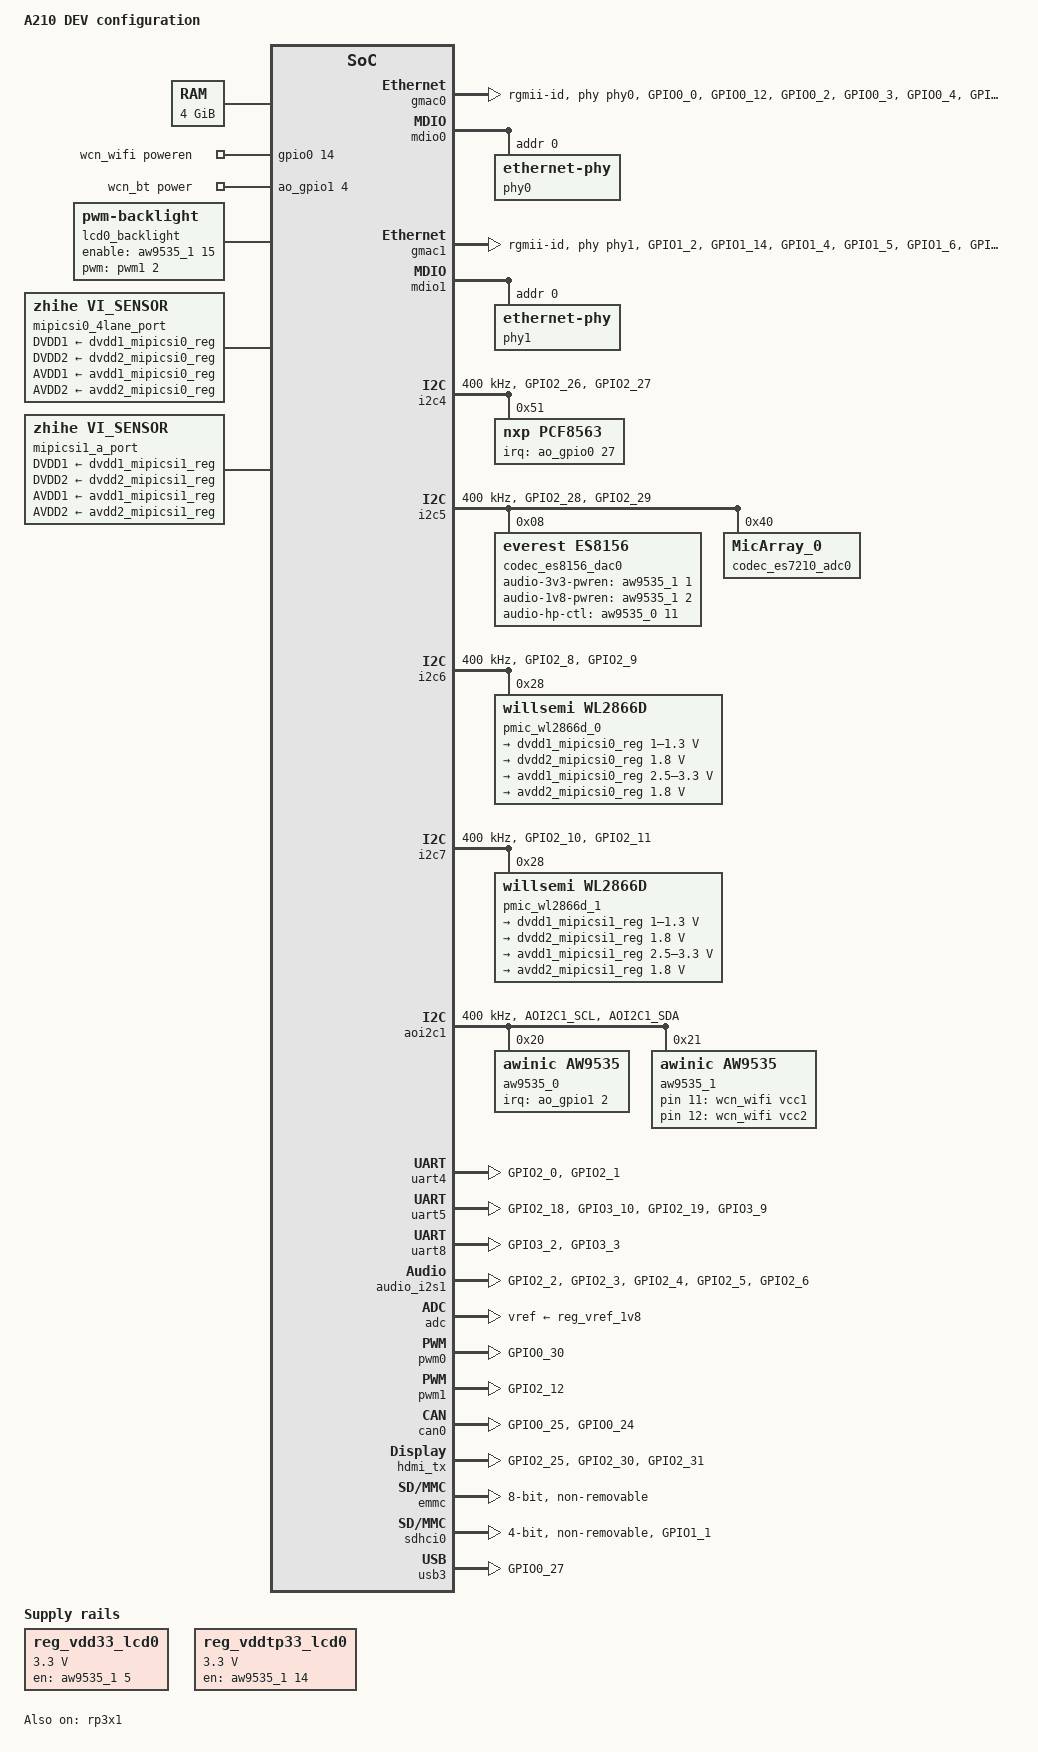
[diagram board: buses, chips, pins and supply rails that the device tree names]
/dts-v1/;

#include <dt-bindings/gpio/gpio.h>
#include "a210-soc-core.dtsi"
#include "a210-soc-peri.dtsi"
#include "a210-platform-dev.dtsi"

#define SOUND_CARD_LINK(REG, FMT, CPU, M, CODEC, N) \
	simple-audio-card,dai-link@##REG { \
		reg = <REG>; \
		format = #FMT; \
		cpu { \
			sound-dai = <&audio_##CPU M>; \
		}; \
		codec { \
			sound-dai = <&codec_##CODEC N>; \
		}; \
	}

/ {
	model = "A210 DEV configuration";

	aliases {
		ethernet0 = &gmac0;
		ethernet1 = &gmac1;

		gpio0 = &ao_gpio0;
		gpio1 = &ao_gpio1;
		gpio2 = &gpio0;
		gpio3 = &gpio1;
		gpio4 = &gpio2;
		gpio5 = &gpio3;
		gpio6 = &gpio4;
		gpio7 = &aw9535_0;
		gpio8 = &aw9535_1;

		i2c0 = &i2c0;
		i2c1 = &i2c1;
		i2c2 = &i2c2;
		i2c3 = &i2c3;
		i2c4 = &i2c4;
		i2c5 = &i2c5;
		i2c6 = &i2c6;
		i2c7 = &i2c7;
		i2c8 = &aoi2c1;

		can0 = &can0;
		can1 = &can1;
		can2 = &can2;

		mmc0 = &emmc;
		mmc1 = &sdhci0;
		serial0 = &uart0;
		serial1 = &uart1;
		serial2 = &uart2;
		serial3 = &uart3;
		serial4 = &uart4;
		serial5 = &uart5;
		serial6 = &uart6;
		serial7 = &uart7;
		serial8 = &uart8;
		serial9 = &uart9;
		spi0 = &qspi0;
		spi1 = &qspi1;
		spi2 = &spi0;
		spi3 = &spi1;
		pcie3x4 = &dm3x4;
		pcie3x1 = &rp3x1;
		vi_sensor0 = &mipicsi0_4lane_port;
		vi_sensor1 = &mipicsi1_a_port;
	};

	/* The actual capacity will be adjusted through SPL */
	memory@0 {
		device_type = "memory";
		reg = <0x00 0x80000000  0x01 0x00000000>; /* 4G */
		numa-node-id = <0>;
	};

	reserved-memory {
		#address-cells = <2>;
		#size-cells = <2>;
		ranges;

		linux,cma {
			compatible = "shared-dma-pool";
			reusable;
			size = <0x00 0x40000000>;
			alloc-ranges = <0x00 0x90000000 0x00 0x40000000>;
			linux,cma-default;
		};

		memory@1c000000 {
			reg = <0x00 0x1c000000 0x00 0x2000000>;
			no-map;
		};

		framebuffer: framebuffer@10000000 {
			reg = <0x01 0x00 0x00 0x5000000>;
			no-map;
		};

		npu_mmu_memory@130000000 {
			reg = <0x01 0x30000000 0x00 0x04000000>;
			no-map;
		};

		memblock-memory@17b800000 {
			reg = <0x01 0x7b800000 0x00 0x04000000>;
			no-map;
		};
	};

	Sound_Card@0 {
		compatible = "simple-audio-card";
		simple-audio-card,name = "Sound-Card-I2S0";
		#address-cells = <1>;
		#size-cells = <0>;
		status = "okay";

		SOUND_CARD_LINK(0, i2s, i2s1, 0, es8156_dac0, 0);  /* I2S1 <-> es8156_dac0 */
		SOUND_CARD_LINK(1, i2s, i2s1, 0, es7210_adc0, 0);  /* I2S1 <-> es7210_adc0 */
	};

	Sound_Card@1 {
		compatible = "simple-audio-card";
		simple-audio-card,name = "Sound-Card-I2S1";
		#address-cells = <1>;
		#size-cells = <0>;
		status = "disabled";

		simple-audio-card,widgets = "Speaker", "Speaker";
		simple-audio-card,routing =
			"Speaker", "AW87565_PA2 VO",
			"AW87565_PA2 IN", "ES8156_DAC1 LOUT";
		simple-audio-card,aux-devs = <&audio_aw87565_pa2>;
		SOUND_CARD_LINK(0, i2s, i2s1, 0, es8156_dac1, 0);
		SOUND_CARD_LINK(1, i2s, i2s1, 0, es7210_adc1, 0);
	};

 	wcn_wifi: wireless-wlan {
 		compatible = "wlan-platdata";
		WIFI,vcc1-gpios = <&aw9535_1 11 GPIO_ACTIVE_HIGH>;
		WIFI,vcc2-gpios = <&aw9535_1 12 GPIO_ACTIVE_HIGH>;
		WIFI,poweren-gpios = <&gpio0 14 GPIO_ACTIVE_HIGH>;
		power_on_after_init;
		power_on_when_resume;
 		status = "okay";
 	};

 	wcn_bt: wireless-bluetooth {
 		compatible = "bluetooth-platdata";
		BT,power-gpios = <&ao_gpio1 4 GPIO_ACTIVE_HIGH>;
 		status = "okay";
 	};

	/* The bootargs in U-Boot will override the configuration set here. */
	chosen {
		stdout-path = "serial4";
	};

	lcd0_backlight: pwm-backlight@0 {
		compatible = "pwm-backlight";
		status = "okay";
		pwms = <&pwm1 2 100000 0>;
		brightness-levels = <0 4 8 16 32 64 128 255>;
		default-brightness-level = <7>;
		enable-gpios = <&aw9535_1 15 GPIO_ACTIVE_HIGH>;
	};

	reg_vdd33_lcd0: regulator-vdd33-lcd0 {
		compatible = "regulator-fixed";
		regulator-name = "lcd0_vdd33";
		regulator-min-microvolt = <3300000>;
		regulator-max-microvolt = <3300000>;
		gpio = <&aw9535_1 5 GPIO_ACTIVE_HIGH>;
		enable-active-high;
	};

	reg_vddtp33_lcd0: regulator-vddtp33-lcd0 {
		compatible = "regulator-fixed";
		regulator-name = "lcd0_vddtp33";
		regulator-min-microvolt = <3300000>;
		regulator-max-microvolt = <3300000>;
		gpio = <&aw9535_1 14 GPIO_ACTIVE_HIGH>;
		enable-active-high;
	};

	mipicsi0_4lane_port: mipicsi0_4lane_port@0 {
		compatible = "zhihe,vi_sensor";
		clocks = <&clk SW_TOP_PAD_SENSOR_VCLK0_EN>;
		clock-names = "core_clk";
		clock-frequency = <24000000>;
		pinctrl-names = "default";
		pinctrl-0 = <&sen_vclk_pin0>;
		sensor_pdn = <&aw9535_0 3 GPIO_ACTIVE_HIGH>;
		sensor_rst = <&aw9535_0 4 GPIO_ACTIVE_HIGH>;
		sensor_regulators = "DVDD1", "DVDD2", "AVDD1", "AVDD2";
		DVDD1-supply = <&dvdd1_mipicsi0_reg>;
		DVDD2-supply = <&dvdd2_mipicsi0_reg>;
		AVDD1-supply = <&avdd1_mipicsi0_reg>;
		AVDD2-supply = <&avdd2_mipicsi0_reg>;
		status = "okay";
	};

	mipicsi1_a_port: mipicsi1_a_port@0 {
		compatible = "zhihe,vi_sensor";
		clocks = <&clk SW_TOP_PAD_SENSOR_VCLK1_EN>;
		clock-names = "core_clk";
		clock-frequency = <24000000>;
		pinctrl-names = "default";
		pinctrl-0 = <&sen_vclk_pin1>;
		sensor_pdn = <&aw9535_0 0 GPIO_ACTIVE_HIGH>;
		sensor_rst = <&aw9535_0 1 GPIO_ACTIVE_HIGH>;
		sensor_regulators = "DVDD1", "DVDD2", "AVDD1", "AVDD2";
		DVDD1-supply = <&dvdd1_mipicsi1_reg>;
		DVDD2-supply = <&dvdd2_mipicsi1_reg>;
		AVDD1-supply = <&avdd1_mipicsi1_reg>;
		AVDD2-supply = <&avdd2_mipicsi1_reg>;
		status = "okay";
	};
};

&aon {
	regulators {
		compatible = "zhihe,a210-aon-regulator";

		avdd33_emmc_reg: avdd33_emmc {
			regulator-name = "avdd33_emmc";
			regulator-type = "voltage";
			regulator-always-on;
		};

		avdd33_usb2_reg: avdd33_usb2 {
			regulator-name = "avdd33_usb2";
			regulator-type = "voltage";
			regulator-always-on;
		};

		dvdd08_aon_reg: dvdd08_aon {
			regulator-name = "dvdd08_aon";
			regulator-type = "voltage";
			regulator-always-on;
		};

		avdd18_aon_reg: avdd18_aon {
			regulator-name = "avdd18_aon";
			regulator-type = "voltage";
			regulator-always-on;
		};

		avdd18_emmc_usb2_reg: avdd18_emmc_usb2 {
			regulator-name = "avdd18_emmc_usb2";
			regulator-type = "voltage";
			regulator-always-on;
		};

		avdd18_emmc_peri_reg: avdd18_emmc_peri {
			regulator-name = "avdd18_emmc_peri";
			regulator-type = "voltage";
			regulator-always-on;
		};

		avdd18_top_reg: avdd18_top {
			regulator-name = "avdd18_top";
			regulator-type = "voltage";
			regulator-always-on;
		};

		avdd18_pll_reg: avdd18_pll {
			regulator-name = "avdd18_pll";
			regulator-type = "voltage";
			regulator-always-on;
		};

		avdd18_reg: avdd18 {
			regulator-name = "avdd18";
			regulator-type = "voltage";
			regulator-always-on;
		};

		dvdd18_ddr_vaa_reg: dvdd18_ddr_vaa {
			regulator-name = "dvdd18_ddr_vaa";
			regulator-type = "voltage";
			regulator-always-on;
		};

		p3v3_reg: p3v3 {
			regulator-name = "p3v3";
			regulator-type = "voltage";
			regulator-always-on;
		};

		dvdd08_top_reg: dvdd08_top {
			regulator-name = "dvdd08_top";
			regulator-type = "voltage";
			regulator-always-on;
		};

		dvdd06_ddr_vddqlp_reg: dvdd06_ddr_vddqlp {
			regulator-name = "dvdd06_ddr_vddqlp";
			regulator-type = "voltage";
			regulator-always-on;
		};

		dvdd08_ddr_reg: dvdd08_ddr {
			regulator-name = "dvdd08_ddr";
			regulator-type = "voltage";
			regulator-ramp-delay = <100>;
			regulator-min-microvolt = <750000>;
			regulator-max-microvolt = <800000>;
			regulator-always-on;
		};

		dvdd_cpu_reg: dvdd_cpu {
			regulator-name = "dvdd_cpu";
			regulator-type = "voltage";
			regulator-ramp-delay = <100>;
			regulator-min-microvolt = <600000>;
			regulator-max-microvolt = <1000000>;
			regulator-always-on;
		};

		dvddm_cpu_reg: dvddm_cpu {
			regulator-name = "dvddm_cpu";
			regulator-type = "voltage";
			regulator-ramp-delay = <100>;
			regulator-min-microvolt = <800000>;
			regulator-max-microvolt = <1000000>;
			regulator-always-on;
		};

		dvdd_vp_reg: dvdd_vp {
			regulator-name = "dvdd_vp";
			regulator-type = "voltage";
			regulator-ramp-delay = <100>;
			regulator-min-microvolt = <750000>;
			regulator-max-microvolt = <800000>;
			regulator-always-on;
		};

		dvdd_npu_vip_reg: dvdd_npu_vip {
			regulator-name = "dvdd_npu_vip";
			regulator-type = "voltage";
			regulator-ramp-delay = <100>;
			regulator-min-microvolt = <750000>;
			regulator-max-microvolt = <1000000>;
			regulator-always-on;
		};

		dvdd_cpu_p_reg: dvdd_cpu_p {
			regulator-name = "dvdd_cpu_p";
			regulator-type = "voltage";
			regulator-ramp-delay = <100>;
			regulator-min-microvolt = <800000>;
			regulator-max-microvolt = <1000000>;
			regulator-always-on;
		};

		dvdd_gpu_reg: dvdd_gpu {
			regulator-name = "dvdd_gpu";
			regulator-type = "voltage";
			regulator-ramp-delay = <100>;
			regulator-min-microvolt = <750000>;
			regulator-max-microvolt = <800000>;
			regulator-always-on;
		};

	};

	cpufreq: a210_cpufreq {
		compatible = "zhihe,a210-cpufreq";
		clocks = <&clk TOP_CPUSYS_BUS_CLK_DIV>,
			 <&clk TOP_CPUSYS_PIC_CLK_DIV>,
			 <&clk TOP_CPUSYS_CFG_ACLK_DIV>,
			 <&clk TOP_CPUSYS_COM_APB_CLK_DIV>,
			 <&clk TOP_CPUSYS_APB_CLK_DIV>;
		clock-names = "bus_clk", "pic_clk", "cfg_clk", "com_clk", "apb_clk";
		status = "okay";
	};
};

&aon_padctrl {
	rtc_pins: rtc {
		rtc-pins {
			pins = "AOGPIO0_27";
			function = "aogpio0";
			bias-disable;
			drive-strength = <13>;
			input-enable;
			input-schmitt-disable;
			slew-rate = <0>;
		};
	};
    aoi2c1_pins: aoi2c1-0 {
		i2c-pins {
			pins = "AOI2C1_SCL", "AOI2C1_SDA";
			function = "aoi2c1";
			bias-disable;
			drive-strength = <7>;
			input-enable;
			input-schmitt-enable;
			slew-rate = <0>;
		};
	};
};

&peri1_padctrl {
	gmac0_pins: gmac0-0 {
		txclk-pins {
			pins = "GPIO0_0", /* GMAC0_TX_CLK */
					"GPIO0_12"; /* GMAC0_MDC */
			function = "gmac0";
			bias-disable;
			drive-strength = <13>;
			input-disable;
			input-schmitt-disable;
			slew-rate = <0>;
		};

		tx-pins {
			pins = "GPIO0_2", /* GMAC0_TXEN */
					"GPIO0_3", /* GMAC0_TXD0 */
					"GPIO0_4", /* GMAC0_TXD1 */
					"GPIO0_5", /* GMAC0_TXD2 */
					"GPIO0_6"; /* GMAC0_TXD3 */
			function = "gmac0";
			bias-disable;
			drive-strength = <20>;
			input-disable;
			input-schmitt-disable;
			slew-rate = <0>;
		};

		rx-pins {
			pins = "GPIO0_1",  /* GMAC0_RX_CLK */
					"GPIO0_7",  /* GMAC0_RXDV */
					"GPIO0_8",  /* GMAC0_RXD0 */
					"GPIO0_9",  /* GMAC0_RXD1 */
					"GPIO0_10", /* GMAC0_RXD2 */
					"GPIO0_11", /* GMAC0_RXD3 */
					"GPIO0_13"; /* GMAC0_MDIO */
			function = "gmac0";
			bias-disable;
			drive-strength = <13>;
			input-enable;
			input-schmitt-disable;
			slew-rate = <0>;
		};
	};
	qspi0_pins: qspi0-0 {
		qspi-pins {
			pins = "GPIO0_18", "GPIO0_20", "GPIO0_21", "GPIO0_22", "GPIO0_23";
			function = "qspi0";
			bias-disable;
			drive-strength = <13>;
			input-enable;
			input-schmitt-enable;
			slew-rate = <0>;
		};
	};
	can0_pins: can0-0 {
		tx-pins {
			pins = "GPIO0_25";
			function = "can0";
			bias-disable;
			drive-strength = <5>;
			input-disable;
			input-schmitt-disable;
			slew-rate = <1>;
		};

		rx-pins {
			pins = "GPIO0_24";
			function = "can0";
			bias-disable;
			drive-strength = <1>;
			input-enable;
			input-schmitt-enable;
			slew-rate = <0>;
		};
	};
	pcie_x1_pins: pcie_x1-1 {
		pcie_x1-pins {
			pins = "GPIO0_18", "GPIO0_19", "GPIO0_20", "GPIO0_21";
			function = "pcie_x1";
			bias-disable;
			drive-strength = <7>;
			input-enable;
			input-schmitt-enable;
			slew-rate = <0>;
		};
	};
	pcie_x4_pins: pcie_x4-1 {
		pcie_x4-pins {
			pins = "GPIO0_28", "GPIO0_29", "GPIO0_31";
			function = "pcie_x4";
			bias-disable;
			drive-strength = <7>;
			input-enable;
			input-schmitt-enable;
			slew-rate = <0>;
		};
	};
	pwm0_pins: pwm0-1 {
		pwm0-pins {
			pins = "GPIO0_30"; // PWM0_CH2
			function = "pwm0";
			bias-disable;
			drive-strength = <13>;
			input-disable;
			input-schmitt-disable;
			slew-rate = <0>;
		};
	};
	gmac1_pins: gmac1-0 {
		txclk-pins {
			pins = "GPIO1_2", /* GMAC1_TX_CLK */
					"GPIO1_14"; /* GMAC1_MDC */
			function = "gmac1";
			bias-disable;
			drive-strength = <13>;
			input-disable;
			input-schmitt-disable;
			slew-rate = <0>;
		};
		tx-pins {
			pins = "GPIO1_4", /* GMAC1_TXEN */
					"GPIO1_5", /* GMAC1_TXD0 */
					"GPIO1_6", /* GMAC1_TXD1 */
					"GPIO1_7", /* GMAC1_TXD2 */
					"GPIO1_8"; /* GMAC1_TXD3 */
			function = "gmac1";
			bias-disable;
			drive-strength = <20>;
			input-disable;
			input-schmitt-disable;
			slew-rate = <0>;
		};
		rx-pins {
			pins = "GPIO1_3",  /* GMAC1_RX_CLK */
					"GPIO1_9",  /* GMAC1_RXDV */
					"GPIO1_10", /* GMAC1_RXD0 */
					"GPIO1_11", /* GMAC1_RXD1 */
					"GPIO1_12", /* GMAC1_RXD2 */
					"GPIO1_13", /* GMAC1_RXD3 */
					"GPIO1_15"; /* GMAC1_MDIO */
			function = "gmac1";
			bias-disable;
			drive-strength = <13>;
			input-enable;
			input-schmitt-disable;
			slew-rate = <0>;
		};
	};
	sdhci_pins: sdhci0-1 {
		sd-pins {
			pins = "GPIO1_1";
			function = "sdio";
			bias-disable;
			drive-strength = <13>;
			input-enable;
			input-schmitt-enable;
			slew-rate = <0>;
		};
	};
	usb3_pins: usb3-1 {
		usb3-pins {
			pins = "GPIO0_27";
			function = "gpio0";
			bias-disable;
			drive-strength = <13>;
			input-disable;
			input-schmitt-disable;
			slew-rate = <0>;
		};
	};
};

&peri2_padctrl {
	uart4_pins: uart4-0 {
		tx-pins {
			pins = "GPIO2_0";
			function = "uart4";
			bias-disable;
			drive-strength = <3>;
			input-disable;
			input-schmitt-disable;
			slew-rate = <0>;
		};

		rx-pins {
			pins = "GPIO2_1";
			function = "uart4";
			bias-disable;
			drive-strength = <1>;
			input-enable;
			input-schmitt-enable;
			slew-rate = <0>;
		};
	};
	i2c5_pins: i2c5-1 {
		i2c-pins {
			pins = "GPIO2_28", "GPIO2_29";
			function = "i2c5";
			bias-disable;
			drive-strength = <7>;
			input-enable;
			input-schmitt-enable;
			slew-rate = <0>;
		};
	};
	uart5_pins: uart5-1 {
		tx-pins {
			pins = "GPIO2_18", "GPIO3_10";	// TXD, RTSN
			function = "uart5";
			bias-disable;
			drive-strength = <3>;
			input-disable;
			input-schmitt-disable;
			slew-rate = <0>;
		};

		rx-pins {
			pins = "GPIO2_19", "GPIO3_9";	// RXD, CTSN
			function = "uart5";
			bias-disable;
			drive-strength = <1>;
			input-enable;
			input-schmitt-enable;
			slew-rate = <0>;
		};
	};
	i2c6_pins: i2c6-1 {
		i2c-pins {
			pins = "GPIO2_8", "GPIO2_9";
			function = "i2c6";
			bias-disable;
			drive-strength = <7>;
			input-enable;
			input-schmitt-enable;
			slew-rate = <0>;
		};
	};
	i2s1_pins: i2s1-0 {
		i2s-pins {
			pins = "GPIO2_2", "GPIO2_3", "GPIO2_4", "GPIO2_5", "GPIO2_6";
			function = "i2s1";
			bias-disable;
			drive-strength = <13>;
			input-schmitt-disable;
			slew-rate = <0>;
		};
	};
	i2c7_pins: i2c7-0 {
		i2c-pins {
			pins = "GPIO2_10", "GPIO2_11";
			function = "i2c7";
			bias-disable;
			drive-strength = <7>;
			input-enable;
			input-schmitt-enable;
			slew-rate = <0>;
		};
	};
	i2c4_pins: i2c4-2 {
		i2c-pins {
			pins = "GPIO2_26", "GPIO2_27";
			function = "i2c4";
			bias-disable;
			drive-strength = <7>;
			input-enable;
			input-schmitt-enable;
			slew-rate = <0>;
		};
	};
	pwm1_pins: pwm1-1 {
		pwm1-pins {
			pins = "GPIO2_12"; // PWM1_CH2
			function = "pwm1";
			bias-disable;
			drive-strength = <13>;
			input-disable;
			input-schmitt-disable;
			slew-rate = <0>;
		};
	};
	hdmi_pins: hdmi-0 {
		hdmi-pins {
			pins = "GPIO2_25", "GPIO2_30", "GPIO2_31";
			function = "hdmi";
			bias-disable;
			drive-strength = <3>;
			input-enable;
			input-schmitt-disable;
			slew-rate = <0>;
		};
	};
	sen_vclk_pin0: sen_vclk0 {
		sen_vclk0-pins {
			pins = "GPIO3_0";
			function = "sen_vclk";
			bias-disable;
			drive-strength = <7>;
			input-enable;
			input-schmitt-enable;
			slew-rate = <0>;
		};
	};
	sen_vclk_pin1: sen_vclk1 {
		sen_vclk1-pins {
			pins = "GPIO3_1";
			function = "sen_vclk";
			bias-disable;
			drive-strength = <7>;
			input-enable;
			input-schmitt-enable;
			slew-rate = <0>;
		};
	};
	uart8_pins: uart8-1 {
		tx-pins {
			pins = "GPIO3_2";	// TXD
			function = "uart8";
			bias-disable;
			drive-strength = <3>;
			input-disable;
			input-schmitt-disable;
			slew-rate = <0>;
		};

		rx-pins {
			pins = "GPIO3_3";	// RXD
			function = "uart8";
			bias-disable;
			drive-strength = <1>;
			input-enable;
			input-schmitt-enable;
			slew-rate = <0>;
		};
	};
};

&gmac0 {
	phy-mode = "rgmii-id";
	pinctrl-names = "default";
	pinctrl-0 = <&gmac0_pins>;
	rx-clk-delay = <0x00>; /* for RGMII */
	tx-clk-delay = <0x00>; /* for RGMII */
	phy-handle = <&phy0>;
};

&mdio0 {
	phy0: ethernet-phy@0 {
		reg = <0x0>;
	};
};

&gmac1 {
	phy-mode = "rgmii-id";
	pinctrl-names = "default";
	pinctrl-0 = <&gmac1_pins>;
	phy-handle = <&phy1>;
};

&mdio1 {
	phy1: ethernet-phy@1 {
		reg = <0x0>;
	};
};

&qspi0 {
	cs-gpios = <&gpio0 19 0>;
	rx-sample-dly = <2>;
	spi-swap-data = <1>;
	spi-max-frequency = <55000000>;
	pinctrl-names = "default";
	pinctrl-0 = <&qspi0_pins>;
	status = "disabled";

	spi_norflash@0 {
		compatible = "jedec,spi-nor";
		spi-max-frequency = <55000000>;
		#address-cells = <1>;
		#size-cells = <1>;
		spi-tx-bus-width = <4>;
		spi-rx-bus-width = <4>;
		reg = <0>;
		status = "okay";
	};
};

&i2c4 {
	pinctrl-names = "default";
	pinctrl-0 = <&i2c4_pins>;
	clock-frequency = <400000>;

	pcf8563: rtc@51 {
		pinctrl-names = "default";
		pinctrl-0 = <&rtc_pins>;
		compatible = "nxp,pcf8563";
		reg = <0x51>;
		interrupt-parent = <&ao_gpio0>;
		interrupts = <27 IRQ_TYPE_LEVEL_LOW>;
		wakeup-source;
	};
};

&i2c5 {
	pinctrl-names = "default";
	pinctrl-0 = <&i2c5_pins>;
	clock-frequency = <400000>;

	codec_es8156_dac0: es8156@8 {
		compatible = "everest,es8156";
		reg = <0x8>;
		#sound-dai-cells = <1>;
		sound-name-prefix = "ES8156_DAC0";
		mclk-sclk-ratio = <4>;
		audio-3v3-pwren-gpios	= <&aw9535_1 1 GPIO_ACTIVE_HIGH>;
		audio-1v8-pwren-gpios	= <&aw9535_1 2 GPIO_ACTIVE_HIGH>;
		audio-hp-ctl-gpios	= <&aw9535_0 11 GPIO_ACTIVE_HIGH>;
		status = "okay";
	};

	codec_es7210_adc0: es7210@40 {
		compatible = "MicArray_0";
		reg = <0x40>;
		#sound-dai-cells = <1>;
		work-mode = "ES7210_NORMAL_I2S";
		channels-max = <2>;
		mclk-sclk-ratio = <4>;
		sound-name-prefix = "ES7210_ADC0";
		status = "okay";
	};

	codec_es8156_dac1: es8156@9 {
		compatible = "everest,es8156";
		reg = <0x9>;
		#sound-dai-cells = <1>;
		sound-name-prefix = "ES8156_DAC1";
		mclk-sclk-ratio = <4>;
		status = "disabled";
	};

	codec_es7210_adc1: es7210@41 {
		compatible = "MicArray_0";
		reg = <0x41>;
		#sound-dai-cells = <1>;
		work-mode = "ES7210_NORMAL_I2S";
		channels-max = <2>;
		mclk-sclk-ratio = <4>;
		sound-name-prefix = "ES7210_ADC1";
		status = "disabled";
	};

	audio_aw87565_pa2: audio_pa2@5b {
		compatible = "awinic,aw87565_pa";
		reg = <0x5b>;
		sound-name-prefix = "AW87565_PA2";
		reset-gpios = <&aw9535_0 8 GPIO_ACTIVE_LOW>;
		status = "disabled";
	};
};

&i2c6 {
	pinctrl-names = "default";
	pinctrl-0 = <&i2c6_pins>;
	clock-frequency = <400000>;

	pmic_wl2866d_0:wl2866d_0@28 {
		compatible = "willsemi,wl2866d";
		reg = <0x28>;
		status = "okay";

		regulators {
			dvdd1_mipicsi0_reg: dvdd1_mipicsi0 {
				regulator-name = "dvdd1_mipicsi0";
				regulator-min-microvolt = <1000000>;
				regulator-max-microvolt = <1300000>;
			};

			dvdd2_mipicsi0_reg: dvdd2_mipicsi0 {
				regulator-name = "dvdd2_mipicsi0";
				regulator-min-microvolt = <1800000>;
				regulator-max-microvolt = <1800000>;
			};

			avdd1_mipicsi0_reg: avdd1_mipicsi0 {
				regulator-name = "avdd1_mipicsi0";
				regulator-min-microvolt = <2500000>;
				regulator-max-microvolt = <3300000>;
			};

			avdd2_mipicsi0_reg: avdd2_mipicsi0 {
				regulator-name = "avdd2_mipicsi0";
				regulator-min-microvolt = <1800000>;
				regulator-max-microvolt = <1800000>;
			};
		};
	};
};

&i2c7 {
	pinctrl-names = "default";
	pinctrl-0 = <&i2c7_pins>;
	clock-frequency = <400000>;

	pmic_wl2866d_1:wl2866d_1@28 {
		compatible = "willsemi,wl2866d";
		reg = <0x28>;
		status = "okay";

		regulators {
			dvdd1_mipicsi1_reg: dvdd1_mipicsi1 {
				regulator-name = "dvdd1_mipicsi1";
				regulator-min-microvolt = <1000000>;
				regulator-max-microvolt = <1300000>;
			};

			dvdd2_mipicsi1_reg: dvdd2_mipicsi1 {
				regulator-name = "dvdd2_mipicsi1";
				regulator-min-microvolt = <1800000>;
				regulator-max-microvolt = <1800000>;
			};

			avdd1_mipicsi1_reg: avdd1_mipicsi1 {
				regulator-name = "avdd1_mipicsi1";
				regulator-min-microvolt = <2500000>;
				regulator-max-microvolt = <3300000>;
			};

			avdd2_mipicsi1_reg: avdd2_mipicsi1 {
				regulator-name = "avdd2_mipicsi1";
				regulator-min-microvolt = <1800000>;
				regulator-max-microvolt = <1800000>;
			};
		};
	};
};

&aoi2c1 {
	pinctrl-names = "default";
	pinctrl-0 = <&aoi2c1_pins>;
	clock-frequency = <400000>;
	status = "okay";

    aw9535_0: gpio@20 {
        compatible = "awinic,aw9535";
        reg = <0x20>;
        gpio-controller;
        #gpio-cells = <2>;
        ngpios = <16>;
        interrupt-parent = <&ao_gpio1>;
        interrupts = <2 IRQ_TYPE_LEVEL_LOW>;
        gpio-line-names =
		    "CSI1_PWDN_IO0", "CSI1_RST_IO1", "CSI1_FSIN_IO2", "CSI0_PWDN_IO3",                  // index 0..3
		    "CSI0_RST_IO4", "CSI0_FSIN_IO5", "MINPCIE_1V5POWER_EN_I06", "MINPCIE_3V3_PWREN_I07",// index 4..7
		    "NULL_I08", "M2_SATA_EN_IO9", "AUDIO_ADC0_INT_IO10", "HP_CTL_H_IO11",               // index 8..11
		    "PI6C557_EN_IO12","DISP_RST_IO13","M2_SATA_3V3_PWREN_IO14","MINPCIE_PERST_IO15";    // index 12..15
    };

    aw9535_1: gpio@21 {
        compatible = "awinic,aw9535";
        reg = <0x21>;
        gpio-controller;
        #gpio-cells = <2>;
        ngpios = <16>;
        gpio-line-names =
		    "PCIE_ETH_PERSTB_IO0", "AUDIO_3V3_PWREN_IO1", "AUDIO_1V8_PWREN_IO2", "MIPI_CSI0_PWREN_IO3", // index 0..3
		    "MIPI_CSI1_PWREN_IO4", "MIPI_TP_PWREN_IO5", "PCIE_ETH_3V3_PWREN_IO6", "NULL_IO7",           // index 4..7
		    "USBCON_PWREN_IO8", "USBCON1_PWREN_IO9", "NULL_IO10", "SDIO_3V3_PWREN_IO11",                // index 8..11
		    "SDIO_1V8_PWREN_IO12","PI6C557_PWREN_IO13","MIPI_DSI_PWREN_IO14","BL_EN_IO15";              // index 12..15
    };
};

&uart4 {
	pinctrl-names = "default";
	pinctrl-0 = <&uart4_pins>;
};

&uart5 {
	pinctrl-names = "default";
	pinctrl-0 = <&uart5_pins>;
};

&uart8 {
	pinctrl-names = "default";
	pinctrl-0 = <&uart8_pins>;
};

&rp3x1 {
	pinctrl-names = "default";
	pinctrl-0 = <&pcie_x1_pins>;
	minipcie-1v5-pwren-gpios = 	<&aw9535_0  6 GPIO_ACTIVE_HIGH>;
	minipcie-3v3-pwren-gpios = 	<&aw9535_0  7 GPIO_ACTIVE_HIGH>;
	minipcie-perst-gpios = 	        <&aw9535_0 15 GPIO_ACTIVE_HIGH>;
	pcie-clk-en-gpios = 		<&aw9535_0 12 GPIO_ACTIVE_HIGH>;
	pcie-clk-pwren-gpios = 		<&aw9535_1 13 GPIO_ACTIVE_HIGH>;
	status = "okay";
};

&dm3x4 {
	pinctrl-names = "default";
	pinctrl-0 = <&pcie_x4_pins>;
};

&audio_i2s1 {
	pinctrl-names = "default";
	pinctrl-0 = <&i2s1_pins>;
};

&adc {
	vref-supply = <&reg_vref_1v8>;
	#io-channel-cells = <1>;
	sampling-frequency = <1000000>;
	resolution = <12>;
};

&pwm0 {
	pinctrl-names = "default";
	pinctrl-0 = <&pwm0_pins>;
};

&pwm1 {
	pinctrl-names = "default";
	pinctrl-0 = <&pwm1_pins>;
};

&can0 {
	pinctrl-names = "default";
	pinctrl-0 = <&can0_pins>;
};

&hdmi_tx {
	pinctrl-names = "default";
	pinctrl-0 = <&hdmi_pins>;
};

&vidmem {
  memory-region = <&framebuffer>;
};

&emmc {
	max-frequency = <196608000>;
	non-removable;
	mmc-hs400-1_8v;
	mmc-hs200-1_8v;
	io_fixed_1v8;
	is_emmc;
	no-sdio;
	no-sd;
	pull_up;
	bus-width = <8>;
	cap-mmc-highspeed;
	clk-delay-mmc-hs200 = <60>;
};

&sdhci0 {
	pinctrl-names = "default";
	pinctrl-0 = <&sdhci_pins>;
	max-frequency = <196608000>;
	cap-sd-highspeed;
	bus-width = <4>;
	sd-uhs-sdr104;
	pull_up;
	no-sd;
	no-mmc;
	non-removable;
	io_fixed_1v8;
	post-power-on-delay-ms = <200>;
	wprtn_ignore;
	wakeup-source;
};

&usb20_zhihe {
	usb21-pwren-gpios = <&aw9535_1 8 GPIO_ACTIVE_HIGH>;
	usb20-pwren-gpios = <&aw9535_1 9 GPIO_ACTIVE_HIGH>;
};

&usb3 {
	pinctrl-names = "default";
	pinctrl-0 = <&usb3_pins>;
	typec-pwren-gpios = <&gpio0 27 GPIO_ACTIVE_HIGH>;
};

&sata {
	m2-sata-3v3-pwren-gpios = 	<&aw9535_0 14 GPIO_ACTIVE_HIGH>;
	m2-sata-en-gpios = 		<&aw9535_0  9 GPIO_ACTIVE_HIGH>;
	sata-clk-en-gpios = 		<&aw9535_0 12 GPIO_ACTIVE_HIGH>;
	sata-clk-pwren-gpios = 		<&aw9535_1 13 GPIO_ACTIVE_HIGH>;
	status = "disabled";
};

&mipi0_csi0 {
	status = "disabled";
};

&mipi0_csi1 {
	//combination 4lane mode: host addr; aphy ctrl addr; bphy ctrl addr; mipi_ctrl addr
	reg = < 0x00 0x06310000 0x0 0x10000
			0x00 0x063a0020 0x0 0x4
			0x00 0x063a0024 0x0 0x4
			0x00 0x063a0028 0x0 0x4>;
	phy_name = "CSI_4LANE"; //combination 4lane
};

//config dsi display: dpu_disp0->dup_enc0->dsi0->lcd_plane

&dpu_enc0 {
    status = "disabled";
    ports {
        /* output */
        port@1 {
            reg = <1>;
            enc0_out: endpoint {
                remote-endpoint = <&dsi0_in>;
            };
        };
    };
};

&dhost_0 {
	status = "disabled";
	ports {
		#address-cells = <1>;
		#size-cells = <0>;
		port@0 {
			reg = <0>;
			dsi0_in: endpoint {
				remote-endpoint = <&enc0_out>;
			};
		};
		port@1 {
			reg = <1>;
			dsi0_out: endpoint {
				remote-endpoint = <&panel0_in>;
			};
		};
	};

	panel0@0 {
		compatible = "jadard,jd9365da-h3";
		reg = <0>;
		backlight = <&lcd0_backlight>;
		reset-gpio = <&aw9535_0 13 0>; /* active low */
		hsvcc-supply = <&reg_vdd33_lcd0>;
		vspn3v3-supply = <&reg_vddtp33_lcd0>;

		port {
			panel0_in: endpoint {
				remote-endpoint = <&dsi0_out>;
			};
		};
	};
};

&c920_4 {
	dvdd-cpu-p-supply = <&dvdd_cpu_p_reg>;
};

&c908_0 {
	dvdd-cpu-supply = <&dvdd_cpu_reg>;
	dvddm-cpu-supply = <&dvddm_cpu_reg>;
};
